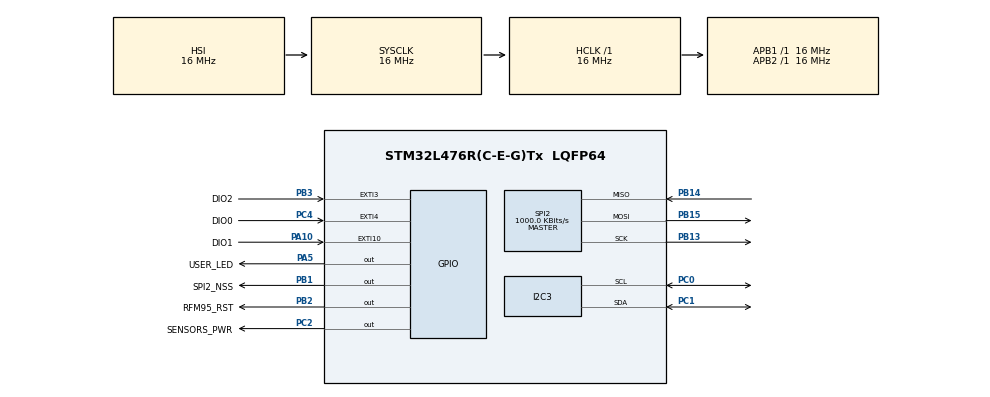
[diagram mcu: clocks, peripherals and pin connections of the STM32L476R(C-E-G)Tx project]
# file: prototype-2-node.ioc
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ADC1.Channel-1\#ChannelRegularConversion=ADC_CHANNEL_TEMPSENSOR
ADC1.ClockPrescaler=ADC_CLOCK_ASYNC_DIV4
ADC1.EnableRegularConversion=ENABLE
ADC1.NbrOfConversionFlag=1
ADC1.OffsetNumber-1\#ChannelRegularConversion=ADC_OFFSET_NONE
ADC1.OversamplingMode=ENABLE
ADC1.Rank-1\#ChannelRegularConversion=1
ADC1.Ratio=ADC_OVERSAMPLING_RATIO_4
ADC1.RightBitShift=ADC_RIGHTBITSHIFT_2
ADC1.SamplingTime-1\#ChannelRegularConversion=ADC_SAMPLETIME_12CYCLES_5
ADC1.master=1
I2C3.Timing=0x00303D5B
Mcu.Family=STM32L4
Mcu.Name=STM32L476R(C-E-G)Tx
Mcu.Package=LQFP64
NVIC.EXTI15_10_IRQn=true\:0\:0\:false\:false\:true\:true\:true
NVIC.EXTI3_IRQn=true\:0\:0\:false\:false\:true\:true\:true
NVIC.EXTI4_IRQn=true\:0\:0\:false\:false\:true\:true\:true
NVIC.PriorityGroup=NVIC_PRIORITYGROUP_4
PA10.GPIO_Label=DIO1
PA10.Signal=GPXTI10
PA13\ (JTMS-SWDIO).GPIO_Label=TMS
PA13\ (JTMS-SWDIO).Mode=Serial_Wire
PA13\ (JTMS-SWDIO).Signal=SYS_JTMS-SWDIO
PA14\ (JTCK-SWCLK).GPIO_Label=TCK
PA14\ (JTCK-SWCLK).Mode=Serial_Wire
PA14\ (JTCK-SWCLK).Signal=SYS_JTCK-SWCLK
PA5.GPIO_Label=USER_LED
PA5.Signal=GPIO_Output
PB1.GPIO_Label=SPI2_NSS
PB1.PinState=GPIO_PIN_SET
PB1.Signal=GPIO_Output
PB13.Mode=Full_Duplex_Master
PB13.Signal=SPI2_SCK
PB14.Mode=Full_Duplex_Master
PB14.Signal=SPI2_MISO
PB15.Mode=Full_Duplex_Master
PB15.Signal=SPI2_MOSI
PB2.GPIO_Label=RFM95_RST
PB2.GPIO_ModeDefaultOutputPP=GPIO_MODE_OUTPUT_OD
PB2.PinState=GPIO_PIN_SET
PB2.Signal=GPIO_Output
PB3\ (JTDO-TRACESWO).GPIO_Label=DIO2
PB3\ (JTDO-TRACESWO).Signal=GPXTI3
PC0.Mode=I2C
PC0.Signal=I2C3_SCL
PC1.Mode=I2C
PC1.Signal=I2C3_SDA
PC14-OSC32_IN\ (PC14).Mode=LSE-External-Oscillator
PC14-OSC32_IN\ (PC14).Signal=RCC_OSC32_IN
PC15-OSC32_OUT\ (PC15).Mode=LSE-External-Oscillator
PC15-OSC32_OUT\ (PC15).Signal=RCC_OSC32_OUT
PC2.GPIO_Label=SENSORS_PWR
PC2.PinState=GPIO_PIN_RESET
PC2.Signal=GPIO_Output
PC4.GPIO_Label=DIO0
PC4.Signal=GPXTI4
PH0-OSC_IN\ (PH0).Signal=RCC_OSC_IN
PH1-OSC_OUT\ (PH1).Signal=RCC_OSC_OUT
ProjectManager.HeapSize=0x200
ProjectManager.StackSize=0x400
ProjectManager.TargetToolchain=STM32CubeIDE
RCC.ADCFreq_Value=64000000
RCC.AHBFreq_Value=16000000
RCC.APB1Freq_Value=16000000
RCC.APB1TimFreq_Value=16000000
RCC.APB2Freq_Value=16000000
RCC.APB2TimFreq_Value=16000000
RCC.CortexFreq_Value=16000000
RCC.HCLKFreq_Value=16000000
RCC.HSE_VALUE=8000000
RCC.HSI_VALUE=16000000
RCC.MSI_VALUE=4000000
RCC.PLLN=10
RCC.PLLSourceVirtual=RCC_PLLSOURCE_HSI
RCC.PREFETCH_ENABLE=1
RCC.RCC_MCO1Source=RCC_MCO1SOURCE_HSE
RCC.SYSCLKFreq_VALUE=16000000
RCC.SYSCLKSource=RCC_SYSCLKSOURCE_HSI
RCC.USBFreq_Value=64000000
RCC.VCOOutputFreq_Value=160000000
SPI2.BaudRatePrescaler=SPI_BAUDRATEPRESCALER_16
SPI2.CalculateBaudRate=1000.0 KBits/s
SPI2.DataSize=SPI_DATASIZE_8BIT
SPI2.Direction=SPI_DIRECTION_2LINES
SPI2.Mode=SPI_MODE_MASTER
SPI2.VirtualType=VM_MASTER
TIM3.Prescaler=16
VP_ADC1_TempSens_Input.Mode=IN-TempSens
VP_RTC_VS_RTC_Activate.Mode=RTC_Enabled
VP_TIM3_VS_ClockSourceINT.Mode=Internal
board=NUCLEO-L476RG

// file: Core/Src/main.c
/* USER CODE BEGIN Header */
/**
 ******************************************************************************
 * @file           : main.c
 * @brief          : Main program body
 ******************************************************************************
 * @attention
 *-
 * <h2><center>&copy; Copyright (c) 2021 STMicroelectronics.
 * All rights reserved.</center></h2>
 *
 * This software component is licensed by ST under BSD 3-Clause license,
 * the "License"; You may not use this file except in compliance with the
 * License. You may obtain a copy of the License at:
 *                        opensource.org/licenses/BSD-3-Clause
 *
 ******************************************************************************
 */
/* USER CODE END Header */
#include "main.h"

/* USER CODE BEGIN Includes */
//#include "arduino_lmic.h"
//#include "hal.h"
/* USER CODE END Includes */

/* USER CODE BEGIN PD */

/*  Lora message structure, 1 byte long
 *  Byte 0:
 *      bit 7:      Timeout
 *      bit 6-0:    Fencevoltage / 0.1kV  (e.g. 11.4kV = 114 in message, max 12.7kV)
 */
#define LORA_MESSAGE_NUM_BYTES      8

#define LORA_MESSAGE_BATTERYLOW_BYTE   (0)
#define LORA_MESSAGE_BATTERYLOW_MASK   (1<<7)
#define LORA_MESSAGE_VOLTAGE_BYTE   (0)
#define LORA_MESSAGE_VOLTAGE_MASK   (0x7F)

#define TEMPCAL1ADDR				(0x1FFF75A8)
#define TEMPCAL2ADDR				(0x1FFF75CA)

#define TEMP_SENSOR_I2C_ADDRESS 	102
#define PH_SENSOR_I2C_ADDRESS 		103
#define DO_SENSOR_I2C_ADDRESS 		104

#define ENABLE_ADR					1

//#define PRINTBUF_SIZE   (40)

/* USER CODE END PD */

ADC_HandleTypeDef hadc1;

I2C_HandleTypeDef hi2c3;

RTC_HandleTypeDef hrtc;

SPI_HandleTypeDef hspi2;

TIM_HandleTypeDef htim3;

/* USER CODE BEGIN PV */
static volatile uint32_t tick = 0;

FLASH_EraseInitTypeDef FlashEraseInit = {0};
I2Cx_Handle_t I2C1Handle;
uint32_t flashError = 0;
uint8_t from_standby = 0;

float tempcal1;
float tempcal2;

/* USER CODE END PV */

void SystemClock_Config(void);
static void MX_GPIO_Init(void);
static void MX_TIM3_Init(void);
static void MX_RTC_Init(void);
static void MX_ADC1_Init(void);
static void MX_SPI2_Init(void);
static void MX_I2C3_Init(void);
/* USER CODE BEGIN PFP */
void RTC_WakeupConfig();
void MYPRINT(char *msg);
uint8_t getSysTickActiveCounterFlag();
//static void reportfunc(osjob_t* j);

void MCUTempInit();
uint16_t readMCUTemp();
uint8_t remove_decimal(char* pStr, char c);
void readSensors(AtlasSensorData* pSample);
//u2_t ReadTempSensor();
//u2_t ReadTempSensorI2C();
//u2_t ReadDOSensor();
//u2_t ReadDOSensorI2C();
//u2_t ReadpHSensor();
//u2_t ReadpHSensorI2C();

void WriteFlash(uint8_t data);
void InitFlashErase();
void SaveSession();
void RestoreSession();
/* USER CODE END PFP */

/* USER CODE BEGIN 0 */
// This EUI must be in little-endian format, so least-significant-byte
// first. When copying an EUI from ttnctl output, this means to reverse
// the bytes. For TTN issued EUIs the last bytes should be 0xD5, 0xB3,
// 0x70.
static const u1_t APPEUI[8] = { 0x97, 0x18, 0x04, 0xD0, 0x7E, 0xD5, 0xB3, 0x70 };
void os_getArtEui(u1_t *buf) {
	memcpy(buf, APPEUI, 8);
}

// This should also be in little endian format, see above.
static const u1_t DEVEUI[8] = { 0x5F, 0x9B, 0x1C, 0x3F, 0x8B, 0x4A, 0x4A, 0x00 };
void os_getDevEui(u1_t *buf) {
	memcpy(buf, DEVEUI, 8);
}

// This key should be in big endian format (or, since it is not really a
// number but a block of memory, endianness does not really apply). In
// practice, a key taken from ttnctl can be copied as-is.
static const u1_t APPKEY[16] = { 0x07, 0x28, 0x32, 0x62, 0xF7, 0x0A, 0x6B, 0x8F,
		0x57, 0x24, 0x47, 0x77, 0xE3, 0xBB, 0xF0, 0xD6 };
void os_getDevKey(u1_t *buf) {
	memcpy(buf, APPKEY, 16);
}

//static char printbuf[PRINTBUF_SIZE];

static uint8_t loradata[LORA_MESSAGE_NUM_BYTES] = { 0 };
static uint8_t lora_port = 2;
static uint8_t lora_confirmed = 0;
static osjob_t sendjob;
//static osjob_t reportjob;

__attribute__((__section__(".user_data"))) uint8_t userConfig[1024];
const uint32_t LMIC_BYTE_SIZE = sizeof(LMIC);
//const uint8_t TICK_BYTE_SIZE = 4;

static uint16_t retry_interval = 60; // check for no pending jobs next secs to go to sleep
static volatile uint8_t txcomplete = 0; // set, when tx done and ready for next sleep
const uint32_t SLEEP_SECONDS = 60;

uint16_t *pTempCal1 = (uint16_t *) TEMPCAL1ADDR;
uint16_t *pTempCal2 = (uint16_t *) TEMPCAL2ADDR;

//No voy a cambiar esto porque dice que esta unused.
// Pin mapping, unused in this implementation
//Lo meti en el main.h
const lmic_pinmap lmic_pins = { .nss = 6, .rxtx = LMIC_UNUSED_PIN, .rst = 5,
		.dio = { 2, 3, LMIC_UNUSED_PIN }, };

void do_send(osjob_t *j) {
	lmic_tx_error_t error = 0;

	// Check if there is not a current TX/RX job running
	if (LMIC.opmode & OP_TXRXPEND) {
//		("OP_TXRXPEND, not sending\r\n");
	} else {
//		MYPRINT("Packet queued\r\n");
		// Prepare upstream data transmission at the next possible time.
		error = LMIC_setTxData2(lora_port, loradata, LORA_MESSAGE_NUM_BYTES,
				lora_confirmed);
	}

	switch (error) {
	case LMIC_ERROR_TX_BUSY:
//		MYPRINT("LMIC_ERROR_TX_BUSY\r\n");
		break;
	case LMIC_ERROR_TX_TOO_LARGE:
//		MYPRINT("LMIC_ERROR_TX_TOO_LARGE\r\n");
		break;
	case LMIC_ERROR_TX_NOT_FEASIBLE:
//		MYPRINT("LMIC_ERROR_TX_NOT_FEASIBLE\r\n");
		break;
	case LMIC_ERROR_TX_FAILED:
//		MYPRINT("LMIC_ERROR_TX_FAILED\r\n");
		break;
	default:
		break;
	}
}

void onEvent(ev_t ev) {
	switch (ev) {
	case EV_SCAN_TIMEOUT:
//		MYPRINT("EV_SCAN_TIMEOUT\r\n");
		break;
	case EV_BEACON_FOUND:
//		MYPRINT("EV_BEACON_FOUND\r\n");
		break;
	case EV_BEACON_MISSED:
//		MYPRINT("EV_BEACON_MISSED\r\n");
		break;
	case EV_BEACON_TRACKED:
//		MYPRINT("EV_BEACON_TRACKED\r\n");
		break;
	case EV_JOINING:
		// normally starts at DR_SF7 and increases if not heard
		// /* set SF10 to get reliable join, potentially decreased over time by ADR */
		// LMIC_setDrTxpow(DR_SF10,14);
//		MYPRINT("EV_JOINING\r\n");
		break;
	case EV_JOINED:
//		MYPRINT("EV_JOINED\r\n");
		/* enable ADR */
		LMIC_setAdrMode(ENABLE_ADR);
		// Disable link check validation (automatically enabled
		// during join, but not supported by TTN at this time).
		LMIC_setLinkCheckMode(0);
		break;
	case EV_JOIN_FAILED:
//		MYPRINT("EV_JOIN_FAILED\r\n");
		break;
	case EV_REJOIN_FAILED:
//		MYPRINT("EV_REJOIN_FAILED\r\n");
		break;
	case EV_TXCOMPLETE:
//		MYPRINT("EV_TXCOMPLETE\r\n");
		if (LMIC.txrxFlags & TXRX_ACK) {
//			MYPRINT("Received ack\r\n");
		}

		if (LMIC.dataLen) {
//			MYPRINT("Received data\r\n");

//              fence_parse_rx(&(LMIC.frame[LMIC.dataBeg]), LMIC.dataLen);
		}
		txcomplete = 1;
		break;
	case EV_JOIN_TXCOMPLETE:
		// join accept not received
//		MYPRINT("EV_JOIN_TXCOMPLETE\r\n");
		break;
	case EV_LOST_TSYNC:
//		MYPRINT("EV_LOST_TSYNC\r\n");
		break;
	case EV_RESET:
//		MYPRINT("EV_RESET\r\n");
		break;
	case EV_RXCOMPLETE:
		// data received in ping slot
//		MYPRINT("EV_RXCOMPLETE\r\n");
		break;
	case EV_LINK_DEAD:
//		MYPRINT("EV_LINK_DEAD\r\n");
		break;
	case EV_LINK_ALIVE:
//		MYPRINT("EV_LINK_ALIVE\r\n");
		break;
	case EV_TXSTART:
//		MYPRINT("EV_TXSTART\r\n");
		break;
	default:
//		MYPRINT("Unknown event\r\n");
		break;
	}
}
/* USER CODE END 0 */

int main(void)
{

  /* MCU Configuration--------------------------------------------------------*/

  /* Reset of all peripherals, Initializes the Flash interface and the Systick. */
  HAL_Init();

  /* Configure the system clock */
  SystemClock_Config();

  /* USER CODE BEGIN SysInit */
  //Tocaria comentar el MX_RTC_Init() de abajo cada vez que se genere nuevo codigo con cubemx
//  MX_RTC_Init();
//  RTC_WakeupConfig();
  /* USER CODE END SysInit */

  /* Initialize all configured peripherals */
  MX_GPIO_Init();
  MX_TIM3_Init();
  MX_RTC_Init();
  MX_ADC1_Init();
  MX_SPI2_Init();
  MX_I2C3_Init();
  /* USER CODE BEGIN 2 */
  RTC_WakeupConfig();
  HAL_ADCEx_Calibration_Start(&hadc1, ADC_SINGLE_ENDED);
  __HAL_RCC_PWR_CLK_ENABLE();
  HAL_TIM_Base_Start(&htim3);
  InitFlashErase();
  MCUTempInit();

  if(__HAL_PWR_GET_FLAG(PWR_FLAG_SB) != RESET)
  {
	  from_standby = 1;

	  __HAL_PWR_CLEAR_FLAG(PWR_FLAG_SB);
	  __HAL_PWR_CLEAR_FLAG(PWR_FLAG_WU);
	  __HAL_RTC_WAKEUPTIMER_CLEAR_FLAG(&hrtc, RTC_FLAG_WUTF);

	  //MYPRINT("Woke up from standby mode...\r\n");
  }
  else
  {
	  from_standby = 0;
	  //MYPRINT("System running after reset...\r\n");
  }

  //	MYPRINT("Start LMIC\r\n");

  //Probando I2C2
//  char cmd[] = "R";
//  uint8_t resp[7] = {0};
////  uint8_t ready = 254;}
//  uint8_t fallo = 0;
//
//  if (HAL_I2C_Master_Transmit(&hi2c2, PH_SENSOR_I2C_ADDRESS << 1, (uint8_t*) cmd, sizeof(cmd), 1000) != HAL_OK)
//  {
//		fallo = 1;
//  }
//  else
//  {
//	  HAL_Delay(800);
//	  HAL_I2C_Master_Receive(&hi2c2, PH_SENSOR_I2C_ADDRESS << 1, resp, sizeof(resp), 1000);
//  }

  //Probando USART3
//  u2_t DO = ReadDOSensor();
  HAL_GPIO_WritePin(USER_LED_GPIO_Port, USER_LED_Pin, GPIO_PIN_SET);
  AtlasSensorData sample = {0};
  readSensors(&sample);

//  u2_t pH = ReadpHSensorI2C();
//  u2_t DO = ReadDOSensorI2C();
//  u2_t temp = ReadTempSensorI2C();
//  u2_t temp = ReadTempSensor(); //cOMO ESTE no interfiere quizas lo puedo prender al mismo tiempo que otro o algo para optimizar el consumo.
//  u2_t DO = 0;
//  u2_t temp = 0;
//  u2_t pH = 0;

  // LMIC init
//  HAL_GPIO_WritePin(RFM95_CONTROL_GPIO_Port, RFM95_CONTROL_Pin, GPIO_PIN_RESET);
  os_init();

  // Reset the MAC state. Session and pending data transfers will be discarded.
  LMIC_reset();

  txcomplete = 0;
//  txcomplete = 1;

  if(from_standby)
  {
	  //Restore session and send one measurement
	  RestoreSession();

	  //MYPRINT("Session restored...\r\n");

//	  os_setCallback(&reportjob, &reportfunc);

//	  reportfunc(&reportjob);

//	  MYPRINT("Report queued...\r\n");
  }
  else
  {
	  // settings
	  LMIC_setClockError(MAX_CLOCK_ERROR * 5 / 100);

	  //Probando algo de un foro

	  //Aqui comienza la Prueba
	  LMIC_selectSubBand(1);
		//Disable FSB1, channels 0-7
	  for(int i = 0; i < 7; i++)
	  {
//		  if (i != 10)
		  LMIC_disableChannel(i);
	  }

	  //Disable FSB3-8, channels 16-72+
	  for (int i = 16; i < 73; i++)
	  {
//		  if (i != 10)
		  LMIC_disableChannel(i);
	  }

	  LMIC_setAdrMode(ENABLE_ADR);
	  LMIC.dn2Dr = DR_SF10;

	  // Set data rate and transmit power for uplink (note: txpow seems to be ignored by the library)
	  LMIC_setDrTxpow(DR_SF10, 14);

	  //Aqui termina la prueba
  }

//  if(!from_standby)
//  {
//	  do_send(&sendjob);
//  }

//  uint16_t mcuTemp = readMCUTemp();

//  if (probeTemp > 25000)
//  {
//	MYPRINT("Dato raro.\r\n");
//  }c

  loradata[0] = (uint8_t) (sample.mcu_temperature >> 8);
  loradata[1] = (uint8_t) sample.mcu_temperature;
  loradata[2] = (uint8_t) (sample.temperature >> 8);
  loradata[3] = (uint8_t) sample.temperature;
  loradata[4] = (uint8_t) (sample.pH >> 8);
  loradata[5] = (uint8_t) sample.pH;
  loradata[6] = (uint8_t) (sample.dissolvedOxygen >> 8);
  loradata[7] = (uint8_t) sample.dissolvedOxygen;

  do_send(&sendjob);

  /* USER CODE END 2 */

  /* Infinite loop */
  while (1) {

    /* USER CODE BEGIN 3 */
	os_runloop_once();

	//Yo quiero quitar esto despues.
	/* when no jobs pending and not joining, go to standby */
	if (!os_queryTimeCriticalJobs(sec2osticks(retry_interval)) && !(LMIC.opmode & OP_JOINING) && !(LMIC.opmode & OP_TXRXPEND))
		{
			if (txcomplete)
			{
	//				MYPRINT("Save session\r\n");

				// save session and ticks+sleeptime
	//	            eeprom_save(getTick() + 1000 * fence_vars.check_interval);

	//				MYPRINT("Standby\r\n")*-/8-;
				//TODO: Poner que se vaya a Standby
	//			MYPRINT("Entering standby mode...\r\n");
//				HAL_GPIO_WritePin(RFM95_CONTROL_GPIO_Port, RFM95_CONTROL_Pin, GPIO_PIN_SET);
//				SaveSession();
//				HAL_PWR_EnterSTANDBYMode();
				HAL_GPIO_TogglePin(USER_LED_GPIO_Port, USER_LED_Pin);
				HAL_Delay(1000);
				/* Enable wake-up timer and enter in standby mode */
	//			EnterStandbyMode();
			}
			else
			{
				// TODO: timeout with txcomplete check
			}
		}
	}

//	  HAL_GPIO_WritePin(USER_LED_GPIO_Port, USER_LED_Pin, GPIO_PIN_RESET);
//	  HAL_Delay(2000);
//	  HAL_GPIO_WritePin(USER_LED_GPIO_Port, USER_LED_Pin, GPIO_PIN_SET);
//	  AtlasSensorData sample = {0};
//	  readSensors(&sample);
//  }

  /* USER CODE END 3 */
}

void SystemClock_Config(void)
{
  RCC_OscInitTypeDef RCC_OscInitStruct = {0};
  RCC_ClkInitTypeDef RCC_ClkInitStruct = {0};

  /** Configure the main internal regulator output voltage
  */
  if (HAL_PWREx_ControlVoltageScaling(PWR_REGULATOR_VOLTAGE_SCALE1) != HAL_OK)
  {
    Error_Handler();
  }
  /** Initializes the RCC Oscillators according to the specified parameters
  * in the RCC_OscInitTypeDef structure.
  */
  RCC_OscInitStruct.OscillatorType = RCC_OSCILLATORTYPE_HSI|RCC_OSCILLATORTYPE_LSI;
  RCC_OscInitStruct.HSIState = RCC_HSI_ON;
  RCC_OscInitStruct.HSICalibrationValue = RCC_HSICALIBRATION_DEFAULT;
  RCC_OscInitStruct.LSIState = RCC_LSI_ON;
  RCC_OscInitStruct.PLL.PLLState = RCC_PLL_NONE;
  if (HAL_RCC_OscConfig(&RCC_OscInitStruct) != HAL_OK)
  {
    Error_Handler();
  }
  /** Initializes the CPU, AHB and APB buses clocks
  */
  RCC_ClkInitStruct.ClockType = RCC_CLOCKTYPE_HCLK|RCC_CLOCKTYPE_SYSCLK
                              |RCC_CLOCKTYPE_PCLK1|RCC_CLOCKTYPE_PCLK2;
  RCC_ClkInitStruct.SYSCLKSource = RCC_SYSCLKSOURCE_HSI;
  RCC_ClkInitStruct.AHBCLKDivider = RCC_SYSCLK_DIV1;
  RCC_ClkInitStruct.APB1CLKDivider = RCC_HCLK_DIV1;
  RCC_ClkInitStruct.APB2CLKDivider = RCC_HCLK_DIV1;

  if (HAL_RCC_ClockConfig(&RCC_ClkInitStruct, FLASH_LATENCY_0) != HAL_OK)
  {
    Error_Handler();
  }
}

static void MX_ADC1_Init(void)
{

  ADC_MultiModeTypeDef multimode = {0};
  ADC_ChannelConfTypeDef sConfig = {0};

  /** Common config
  */
  hadc1.Instance = ADC1;
  hadc1.Init.ClockPrescaler = ADC_CLOCK_ASYNC_DIV4;
  hadc1.Init.Resolution = ADC_RESOLUTION_12B;
  hadc1.Init.DataAlign = ADC_DATAALIGN_RIGHT;
  hadc1.Init.ScanConvMode = ADC_SCAN_DISABLE;
  hadc1.Init.EOCSelection = ADC_EOC_SINGLE_CONV;
  hadc1.Init.LowPowerAutoWait = DISABLE;
  hadc1.Init.ContinuousConvMode = DISABLE;
  hadc1.Init.NbrOfConversion = 1;
  hadc1.Init.DiscontinuousConvMode = DISABLE;
  hadc1.Init.ExternalTrigConv = ADC_SOFTWARE_START;
  hadc1.Init.ExternalTrigConvEdge = ADC_EXTERNALTRIGCONVEDGE_NONE;
  hadc1.Init.DMAContinuousRequests = DISABLE;
  hadc1.Init.Overrun = ADC_OVR_DATA_PRESERVED;
  hadc1.Init.OversamplingMode = ENABLE;
  hadc1.Init.Oversampling.Ratio = ADC_OVERSAMPLING_RATIO_4;
  hadc1.Init.Oversampling.RightBitShift = ADC_RIGHTBITSHIFT_2;
  hadc1.Init.Oversampling.TriggeredMode = ADC_TRIGGEREDMODE_SINGLE_TRIGGER;
  hadc1.Init.Oversampling.OversamplingStopReset = ADC_REGOVERSAMPLING_CONTINUED_MODE;
  if (HAL_ADC_Init(&hadc1) != HAL_OK)
  {
    Error_Handler();
  }
  /** Configure the ADC multi-mode
  */
  multimode.Mode = ADC_MODE_INDEPENDENT;
  if (HAL_ADCEx_MultiModeConfigChannel(&hadc1, &multimode) != HAL_OK)
  {
    Error_Handler();
  }
  /** Configure Regular Channel
  */
  sConfig.Channel = ADC_CHANNEL_TEMPSENSOR;
  sConfig.Rank = ADC_REGULAR_RANK_1;
  sConfig.SamplingTime = ADC_SAMPLETIME_12CYCLES_5;
  sConfig.SingleDiff = ADC_SINGLE_ENDED;
  sConfig.OffsetNumber = ADC_OFFSET_NONE;
  sConfig.Offset = 0;
  if (HAL_ADC_ConfigChannel(&hadc1, &sConfig) != HAL_OK)
  {
    Error_Handler();
  }

}

static void MX_I2C3_Init(void)
{

  hi2c3.Instance = I2C3;
  hi2c3.Init.Timing = 0x00303D5B;
  hi2c3.Init.OwnAddress1 = 0;
  hi2c3.Init.AddressingMode = I2C_ADDRESSINGMODE_7BIT;
  hi2c3.Init.DualAddressMode = I2C_DUALADDRESS_DISABLE;
  hi2c3.Init.OwnAddress2 = 0;
  hi2c3.Init.OwnAddress2Masks = I2C_OA2_NOMASK;
  hi2c3.Init.GeneralCallMode = I2C_GENERALCALL_DISABLE;
  hi2c3.Init.NoStretchMode = I2C_NOSTRETCH_DISABLE;
  if (HAL_I2C_Init(&hi2c3) != HAL_OK)
  {
    Error_Handler();
  }
  /** Configure Analogue filter
  */
  if (HAL_I2CEx_ConfigAnalogFilter(&hi2c3, I2C_ANALOGFILTER_ENABLE) != HAL_OK)
  {
    Error_Handler();
  }
  /** Configure Digital filter
  */
  if (HAL_I2CEx_ConfigDigitalFilter(&hi2c3, 0) != HAL_OK)
  {
    Error_Handler();
  }

}

static void MX_RTC_Init(void)
{

  /** Initialize RTC Only
  */
  hrtc.Instance = RTC;
  hrtc.Init.HourFormat = RTC_HOURFORMAT_24;
  hrtc.Init.AsynchPrediv = 127;
  hrtc.Init.SynchPrediv = 255;
  hrtc.Init.OutPut = RTC_OUTPUT_DISABLE;
  hrtc.Init.OutPutRemap = RTC_OUTPUT_REMAP_NONE;
  hrtc.Init.OutPutPolarity = RTC_OUTPUT_POLARITY_HIGH;
  hrtc.Init.OutPutType = RTC_OUTPUT_TYPE_OPENDRAIN;
  if (HAL_RTC_Init(&hrtc) != HAL_OK)
  {
    Error_Handler();
  }

}

static void MX_SPI2_Init(void)
{

  /* SPI2 parameter configuration*/
  hspi2.Instance = SPI2;
  hspi2.Init.Mode = SPI_MODE_MASTER;
  hspi2.Init.Direction = SPI_DIRECTION_2LINES;
  hspi2.Init.DataSize = SPI_DATASIZE_8BIT;
  hspi2.Init.CLKPolarity = SPI_POLARITY_LOW;
  hspi2.Init.CLKPhase = SPI_PHASE_1EDGE;
  hspi2.Init.NSS = SPI_NSS_SOFT;
  hspi2.Init.BaudRatePrescaler = SPI_BAUDRATEPRESCALER_16;
  hspi2.Init.FirstBit = SPI_FIRSTBIT_MSB;
  hspi2.Init.TIMode = SPI_TIMODE_DISABLE;
  hspi2.Init.CRCCalculation = SPI_CRCCALCULATION_DISABLE;
  hspi2.Init.CRCPolynomial = 7;
  hspi2.Init.CRCLength = SPI_CRC_LENGTH_DATASIZE;
  hspi2.Init.NSSPMode = SPI_NSS_PULSE_ENABLE;
  if (HAL_SPI_Init(&hspi2) != HAL_OK)
  {
    Error_Handler();
  }

}

static void MX_TIM3_Init(void)
{

  TIM_ClockConfigTypeDef sClockSourceConfig = {0};
  TIM_MasterConfigTypeDef sMasterConfig = {0};

  htim3.Instance = TIM3;
  htim3.Init.Prescaler = 16;
  htim3.Init.CounterMode = TIM_COUNTERMODE_UP;
  htim3.Init.Period = 65535;
  htim3.Init.ClockDivision = TIM_CLOCKDIVISION_DIV1;
  htim3.Init.AutoReloadPreload = TIM_AUTORELOAD_PRELOAD_DISABLE;
  if (HAL_TIM_Base_Init(&htim3) != HAL_OK)
  {
    Error_Handler();
  }
  sClockSourceConfig.ClockSource = TIM_CLOCKSOURCE_INTERNAL;
  if (HAL_TIM_ConfigClockSource(&htim3, &sClockSourceConfig) != HAL_OK)
  {
    Error_Handler();
  }
  sMasterConfig.MasterOutputTrigger = TIM_TRGO_RESET;
  sMasterConfig.MasterSlaveMode = TIM_MASTERSLAVEMODE_DISABLE;
  if (HAL_TIMEx_MasterConfigSynchronization(&htim3, &sMasterConfig) != HAL_OK)
  {
    Error_Handler();
  }

}

static void MX_GPIO_Init(void)
{
  GPIO_InitTypeDef GPIO_InitStruct = {0};

  /* GPIO Ports Clock Enable */
  __HAL_RCC_GPIOC_CLK_ENABLE();
  __HAL_RCC_GPIOH_CLK_ENABLE();
  __HAL_RCC_GPIOA_CLK_ENABLE();
  __HAL_RCC_GPIOB_CLK_ENABLE();

  /*Configure GPIO pin Output Level */
  HAL_GPIO_WritePin(SENSORS_PWR_GPIO_Port, SENSORS_PWR_Pin, GPIO_PIN_RESET);

  /*Configure GPIO pin Output Level */
  HAL_GPIO_WritePin(USER_LED_GPIO_Port, USER_LED_Pin, GPIO_PIN_RESET);

  /*Configure GPIO pin Output Level */
  HAL_GPIO_WritePin(GPIOB, SPI2_NSS_Pin|RFM95_RST_Pin, GPIO_PIN_SET);

  /*Configure GPIO pin : SENSORS_PWR_Pin */
  GPIO_InitStruct.Pin = SENSORS_PWR_Pin;
  GPIO_InitStruct.Mode = GPIO_MODE_OUTPUT_PP;
  GPIO_InitStruct.Pull = GPIO_NOPULL;
  GPIO_InitStruct.Speed = GPIO_SPEED_FREQ_LOW;
  HAL_GPIO_Init(SENSORS_PWR_GPIO_Port, &GPIO_InitStruct);

  /*Configure GPIO pin : USER_LED_Pin */
  GPIO_InitStruct.Pin = USER_LED_Pin;
  GPIO_InitStruct.Mode = GPIO_MODE_OUTPUT_PP;
  GPIO_InitStruct.Pull = GPIO_NOPULL;
  GPIO_InitStruct.Speed = GPIO_SPEED_FREQ_LOW;
  HAL_GPIO_Init(USER_LED_GPIO_Port, &GPIO_InitStruct);

  /*Configure GPIO pin : DIO0_Pin */
  GPIO_InitStruct.Pin = DIO0_Pin;
  GPIO_InitStruct.Mode = GPIO_MODE_IT_RISING;
  GPIO_InitStruct.Pull = GPIO_NOPULL;
  HAL_GPIO_Init(DIO0_GPIO_Port, &GPIO_InitStruct);

  /*Configure GPIO pin : SPI2_NSS_Pin */
  GPIO_InitStruct.Pin = SPI2_NSS_Pin;
  GPIO_InitStruct.Mode = GPIO_MODE_OUTPUT_PP;
  GPIO_InitStruct.Pull = GPIO_NOPULL;
  GPIO_InitStruct.Speed = GPIO_SPEED_FREQ_LOW;
  HAL_GPIO_Init(SPI2_NSS_GPIO_Port, &GPIO_InitStruct);

  /*Configure GPIO pin : RFM95_RST_Pin */
  GPIO_InitStruct.Pin = RFM95_RST_Pin;
  GPIO_InitStruct.Mode = GPIO_MODE_OUTPUT_OD;
  GPIO_InitStruct.Pull = GPIO_NOPULL;
  GPIO_InitStruct.Speed = GPIO_SPEED_FREQ_LOW;
  HAL_GPIO_Init(RFM95_RST_GPIO_Port, &GPIO_InitStruct);

  /*Configure GPIO pin : DIO1_Pin */
  GPIO_InitStruct.Pin = DIO1_Pin;
  GPIO_InitStruct.Mode = GPIO_MODE_IT_RISING;
  GPIO_InitStruct.Pull = GPIO_NOPULL;
  HAL_GPIO_Init(DIO1_GPIO_Port, &GPIO_InitStruct);

  /*Configure GPIO pin : DIO2_Pin */
  GPIO_InitStruct.Pin = DIO2_Pin;
  GPIO_InitStruct.Mode = GPIO_MODE_IT_RISING;
  GPIO_InitStruct.Pull = GPIO_NOPULL;
  HAL_GPIO_Init(DIO2_GPIO_Port, &GPIO_InitStruct);

  /* EXTI interrupt init*/
  HAL_NVIC_SetPriority(EXTI3_IRQn, 0, 0);
  HAL_NVIC_EnableIRQ(EXTI3_IRQn);

  HAL_NVIC_SetPriority(EXTI4_IRQn, 0, 0);
  HAL_NVIC_EnableIRQ(EXTI4_IRQn);

  HAL_NVIC_SetPriority(EXTI15_10_IRQn, 0, 0);
  HAL_NVIC_EnableIRQ(EXTI15_10_IRQn);

}

/* USER CODE BEGIN 4 */

void MYPRINT(char *msg) {
//	HAL_UART_Transmit(&huart3, (uint8_t*) msg, strlen(msg) + 1, HAL_MAX_DELAY); //TODO: Revisar lo del timeout
}

HAL_StatusTypeDef HAL_InitTick(uint32_t TickPriority) {
	/*Configure the SysTick to have interrupt in 1ms time basis*/
	HAL_SYSTICK_Config(SystemCoreClock / 1000);

	/*Configure the SysTick IRQ priority */
	HAL_NVIC_SetPriority(SysTick_IRQn, TickPriority, 0);

	/* Return function status */
	return HAL_OK;
}

uint32_t getCurrentMicro(void)
{
  /* Ensure COUNTFLAG is reset by reading SysTick control and status register */
//  LL_SYSTICK_IsActiveCounterFlag();
  //por ahora yo, mirar si la HAL tiene algo para esto
  getSysTickActiveCounterFlag();

  //Porque se hace esto 2 veces?
  uint32_t m = HAL_GetTick();
  uint32_t u = SysTick->LOAD - SysTick->VAL;

  if(getSysTickActiveCounterFlag())
  {
    m = HAL_GetTick();
    u = SysTick->LOAD - SysTick->VAL;
  }
  return ( m * 1000 + (u * 1000) / SysTick->LOAD);
}

uint8_t getSysTickActiveCounterFlag()
{
	return ((SysTick->CTRL & SysTick_CTRL_COUNTFLAG_Msk) == (SysTick_CTRL_COUNTFLAG_Msk));
}

//static void reportfunc(osjob_t* j)
//{
//	u2_t val = ReadTempSensor();
//	LMIC.frame[0] = val >> 8;
//	LMIC.frame[1] = val;
//
//	LMIC_setTxData2(1, LMIC.frame, 2, 0);
//}

uint8_t remove_decimal(char* pStr, char c)
{
	char *pr = pStr, *pw = pStr;
	uint8_t loc = 0; uint8_t i = 0;

	while(*pr)
	{
		*pw = *pr++;

		if (*pw != c)
		{
			pw++;
		}
		else
		{
			loc = i;
		}
		i++;
	}

	*pw = '\0';

	return loc;
}

void MCUTempInit()
{
	tempcal1 = (float) (*pTempCal1)*(3/3.3f);
	tempcal2 = (float) (*pTempCal2)*(3/3.3f);
}

uint16_t readMCUTemp()
{
	//TODO: Poner esto arriba como constante

	HAL_ADC_Start(&hadc1);
	while(HAL_ADC_PollForConversion(&hadc1, HAL_MAX_DELAY) != HAL_OK);

	uint16_t adctemp = (uint16_t) HAL_ADC_GetValue(&hadc1);
	float temp = ((float)(adctemp - tempcal1)/(tempcal2 - tempcal1))*(80) + 30;

	return (uint16_t) (temp*1000);
}

void readSensors(AtlasSensorData* pSample)
{
	uint16_t mcuTemp = readMCUTemp();
	pSample->mcu_temperature = mcuTemp;

	char cmd[] = "R";
//	char cmd[] = "Cal,21";
	uint8_t temp_buffer[8] = {0};
	uint8_t pH_buffer[7] = {0};
	uint8_t do_buffer[7] = {0};

	//  uint8_t ready = 254;

	HAL_GPIO_WritePin(SENSORS_PWR_GPIO_Port, SENSORS_PWR_Pin, GPIO_PIN_SET);

	HAL_Delay(1500);

	uint8_t fallo_temp = HAL_I2C_Master_Transmit(&hi2c3, TEMP_SENSOR_I2C_ADDRESS << 1, (uint8_t*) cmd, sizeof(cmd), 1000) != HAL_OK;
	uint8_t fallo_do = HAL_I2C_Master_Transmit(&hi2c3, DO_SENSOR_I2C_ADDRESS << 1, (uint8_t*) cmd, sizeof(cmd), 1000) != HAL_OK;
	uint8_t fallo_pH = HAL_I2C_Master_Transmit(&hi2c3, PH_SENSOR_I2C_ADDRESS << 1, (uint8_t*) cmd, sizeof(cmd), 1000) != HAL_OK;

	HAL_Delay(1500);

	if(!fallo_temp)
	{
		HAL_I2C_Master_Receive(&hi2c3, TEMP_SENSOR_I2C_ADDRESS << 1, temp_buffer, sizeof(temp_buffer), 1000);
	}

	if(!fallo_do)
	{
		HAL_I2C_Master_Receive(&hi2c3, DO_SENSOR_I2C_ADDRESS << 1, do_buffer, sizeof(do_buffer), 1000);
	}

	if(!fallo_pH)
	{
		HAL_I2C_Master_Receive(&hi2c3, PH_SENSOR_I2C_ADDRESS << 1, pH_buffer, sizeof(pH_buffer), 1000);
	}

	//TODO: Probar el cast a pointer char
	uint8_t decloc_temp = remove_decimal( (char*) (temp_buffer+1), '.');
	uint8_t decloc_do = remove_decimal( (char*) (do_buffer+1), '.');
	uint8_t decloc_pH = remove_decimal( (char*) (pH_buffer+1), '.');

	//Esto es para ignorar el warning de que los decloc no se esta usando.
	UNUSED(decloc_temp);
	UNUSED(decloc_do);
	UNUSED(decloc_pH);

	pSample->temperature = atoi( (const char*) (temp_buffer+1));
	pSample->dissolvedOxygen = atoi( (const char*) (do_buffer+1));
	pSample->pH = atoi( (const char*) (pH_buffer+1));

	if(pSample->temperature > 25000)
	{
		pSample->temperature = 50000;
	}

	HAL_GPIO_WritePin(SENSORS_PWR_GPIO_Port, SENSORS_PWR_Pin, GPIO_PIN_RESET);
}

//u2_t ReadpHSensorI2C()
//{
//	//TODO: Revisar esto, a veces falla la lectura y se queda trabado.
//	//Por ahora le alargo los Delays, pero hacerlo mejor como detectando el error
//	//o con un timeout.
//
//	char cmd[] = "R";
//	uint8_t buffer[7] = {0};
//	//  uint8_t ready = 254;
//	uint8_t fallo = 0;
//
//	HAL_GPIO_WritePin(PH_CONTROL_GPIO_Port, PH_CONTROL_Pin, GPIO_PIN_SET);
//	HAL_Delay(1200);
//
//	if (HAL_I2C_Master_Transmit(&hi2c2, PH_SENSOR_I2C_ADDRESS << 1, (uint8_t*) cmd, sizeof(cmd), 1000) != HAL_OK)
//	{
//		fallo = 1;
//	}
//	else
//	{
//	  HAL_Delay(800);
//	  HAL_I2C_Master_Receive(&hi2c2, PH_SENSOR_I2C_ADDRESS << 1, buffer, sizeof(buffer), 1000);
//	}
//
//	HAL_GPIO_WritePin(PH_CONTROL_GPIO_Port, PH_CONTROL_Pin, GPIO_PIN_RESET);
//
//	//TODO: Probar el cast a pointer char
//	uint8_t dec_loc = remove_decimal( (char*) (buffer+1), '.');
//
//	//Esto es para ignorar el warning de que dec_loc no se esta usando.
//	UNUSED(dec_loc);
//
//	u2_t val = atoi( (const char*) (buffer+1));
//
//	return val;
//}

//u2_t ReadpHSensor()
//{
//	//TODO: Revisar esto, a veces falla la lectura y se queda trabado.
//	//Por ahora le alargo los Delays, pero hacerlo mejor como detectando el error
//	//o con un timeout.
//
//	char cmd[] = "R\r";
//	uint8_t initbuffer[11] = {0};
//	uint8_t buffer[10] = {0};
//
//	HAL_UART_DeInit(&huart3);
//	MX_USART3_UART_Init();
//
//	HAL_GPIO_DeInit(GPIOC, GPIO_PIN_4 | GPIO_PIN_5);
//
//	GPIO_InitTypeDef GPIO_InitStruct;
//
//	GPIO_InitStruct.Pin = GPIO_PIN_10 | GPIO_PIN_11;
//	GPIO_InitStruct.Mode = GPIO_MODE_ANALOG;
//	GPIO_InitStruct.Pull = GPIO_NOPULL;
//	GPIO_InitStruct.Speed = GPIO_SPEED_FREQ_LOW;
//	HAL_GPIO_Init(GPIOC, &GPIO_InitStruct);
//
//	GPIO_InitStruct.Pin = GPIO_PIN_10 | GPIO_PIN_11;
//	GPIO_InitStruct.Mode = GPIO_MODE_AF_PP;
//	GPIO_InitStruct.Pull = GPIO_NOPULL;
//	GPIO_InitStruct.Alternate = GPIO_AF7_USART3;
//	GPIO_InitStruct.Speed = GPIO_SPEED_FREQ_VERY_HIGH;
//	HAL_GPIO_Init(GPIOB, &GPIO_InitStruct);
//
//	HAL_GPIO_WritePin(PH_CONTROL_GPIO_Port, PH_CONTROL_Pin, GPIO_PIN_SET);
//
//	//Cambiar esto por algo que espere a que llegue *RE\r
//	HAL_UART_Receive(&huart3, initbuffer, sizeof(initbuffer), 1000);
//
//	//Leer dato de temp sensor
//	HAL_UART_Transmit(&huart3, (uint8_t*) cmd, strlen(cmd), 1000);
//	__HAL_UART_CLEAR_OREFLAG(&huart3);
//	HAL_UART_Receive(&huart3, buffer, sizeof(buffer), 1000);
//
//	HAL_GPIO_WritePin(PH_CONTROL_GPIO_Port, PH_CONTROL_Pin, GPIO_PIN_RESET);
//
//	//TODO: Probar el cast a pointer char
//	uint8_t dec_loc = remove_decimal( (char*) buffer, '.');
//
//	//Esto es para ignorar el warning de que dec_loc no se esta usando.
//	UNUSED(dec_loc);
//
//	u2_t val = atoi( (const char*) buffer);
//
////	if (val == 25576)
////	{
////		val = val;
////	}
//
//	return val;
//}

//u2_t ReadTempSensorI2C()
//{
//	//TODO: Revisar esto, a veces falla la lectura y se queda trabado.
//	//Por ahora le alargo los Delays, pero hacerlo mejor como detectando el error
//	//o con un timeout.
//
//	char cmd[] = "R";
//	uint8_t buffer[8] = {0};
//	//  uint8_t ready = 254;
//	uint8_t fallo = 0;
//
//	HAL_GPIO_WritePin(DO_CONTROL_GPIO_Port, DO_CONTROL_Pin, GPIO_PIN_SET);
//
//	if (HAL_I2C_Master_Transmit(&hi2c2, TEMP_SENSOR_I2C_ADDRESS << 1, (uint8_t*) cmd, sizeof(cmd), 1000) != HAL_OK)
//	{
//		fallo = 1;
//	}
//	else
//	{
//	  HAL_Delay(800);
//	  HAL_I2C_Master_Receive(&hi2c2, TEMP_SENSOR_I2C_ADDRESS << 1, buffer, sizeof(buffer), 1000);
//	}
//
//	HAL_GPIO_WritePin(DO_CONTROL_GPIO_Port, DO_CONTROL_Pin, GPIO_PIN_RESET);
//
//	//TODO: Probar el cast a pointer char
//	uint8_t dec_loc = remove_decimal( (char*) (buffer+1), '.');
//
//	//Esto es para ignorar el warning de que dec_loc no se esta usando.
//	UNUSED(dec_loc);
//
//	u2_t val = atoi( (const char*) (buffer+1));
//
//	return val;
//}

//u2_t ReadTempSensor()
//{
//	//TODO: Revisar esto, a veces falla la lectura y se queda trabado.
//	//Por ahora le alargo los Delays, pero hacerlo mejor como detectando el error
//	//o con un timeout.
//
//	char cmd[] = "R\r";
//	uint8_t initbuffer[11] = {0};
//	uint8_t buffer[10] = {0};
//
//	HAL_UART_DeInit(&huart3);
//	MX_USART3_UART_Init();
//
//	HAL_GPIO_DeInit(GPIOB, GPIO_PIN_10 | GPIO_PIN_11);
////	HAL_GPIO_DeInit(GPIOC, GPIO_PIN_10 | GPIO_PIN_11);
//
//	GPIO_InitTypeDef GPIO_InitStruct;
//
//	GPIO_InitStruct.Pin = GPIO_PIN_10 | GPIO_PIN_11;
//	GPIO_InitStruct.Mode = GPIO_MODE_ANALOG;
//	GPIO_InitStruct.Pull = GPIO_NOPULL;
//	GPIO_InitStruct.Speed = GPIO_SPEED_FREQ_LOW;
//	HAL_GPIO_Init(GPIOC, &GPIO_InitStruct);
//
//	GPIO_InitStruct.Pin = GPIO_PIN_4 | GPIO_PIN_5;
//	GPIO_InitStruct.Mode = GPIO_MODE_AF_PP;
//	GPIO_InitStruct.Pull = GPIO_NOPULL;
//	GPIO_InitStruct.Alternate = GPIO_AF7_USART3;
//	GPIO_InitStruct.Speed = GPIO_SPEED_FREQ_VERY_HIGH;
//	HAL_GPIO_Init(GPIOC, &GPIO_InitStruct);
//
//	HAL_GPIO_WritePin(TEMP_CONTROL_GPIO_Port, TEMP_CONTROL_Pin, GPIO_PIN_SET);
//
//	//Cambiar esto por algo que espere a que llegue *RE\r
//	HAL_UART_Receive(&huart3, initbuffer, sizeof(initbuffer), 1000);
//
//	//Leer dato de ph sensor
//	HAL_UART_Transmit(&huart3, (uint8_t*) cmd, strlen(cmd), 1000);
//	__HAL_UART_CLEAR_OREFLAG(&huart3);
//	HAL_UART_Receive(&huart3, buffer, sizeof(buffer), 1000);
//
//	HAL_GPIO_WritePin(TEMP_CONTROL_GPIO_Port, TEMP_CONTROL_Pin, GPIO_PIN_RESET);
//
//	//TODO: Probar el cast a pointer char
//	uint8_t dec_loc = remove_decimal( (char*) buffer, '.');
//
//	//Esto es para ignorar el warning de que dec_loc no se esta usando.
//	UNUSED(dec_loc);
//
//	u2_t val = atoi( (const char*) buffer);
//
//	return val;
//}

//u2_t ReadDOSensorI2C()
//{
//	//TODO: Revisar esto, a veces falla la lectura y se queda trabado.
//	//Por ahora le alargo los Delays, pero hacerlo mejor como detectando el error
//	//o con un timeout.
//
//	char cmd[] = "R";
//	uint8_t buffer[7] = {0};
//	//  uint8_t ready = 254;
//	uint8_t fallo = 0;
//
//	HAL_GPIO_WritePin(DO_CONTROL_GPIO_Port, DO_CONTROL_Pin, GPIO_PIN_SET);
//	HAL_Delay(1200);
//
//	if (HAL_I2C_Master_Transmit(&hi2c2, DO_SENSOR_I2C_ADDRESS << 1, (uint8_t*) cmd, sizeof(cmd), 1000) != HAL_OK)
//	{
//		fallo = 1;
//	}
//	else
//	{
//	  HAL_Delay(800);
//	  HAL_I2C_Master_Receive(&hi2c2, DO_SENSOR_I2C_ADDRESS << 1, buffer, sizeof(buffer), 1000);
//	}
//
//	HAL_GPIO_WritePin(DO_CONTROL_GPIO_Port, DO_CONTROL_Pin, GPIO_PIN_RESET);
//
//	//TODO: Probar el cast a pointer char
//	uint8_t dec_loc = remove_decimal( (char*) (buffer+1), '.');
//
//	//Esto es para ignorar el warning de que dec_loc no se esta usando.
//	UNUSED(dec_loc);
//
//	u2_t val = atoi( (const char*) (buffer+1));
//
//	return val;
//}

//u2_t ReadDOSensor()
//{
//	//TODO: Revisar esto, a veces falla la lectura y se queda trabado.
//	//Por ahora le alargo los Delays, pero hacerlo mejor como detectando el error
//	//o con un timeout.
//	//I2C address = 104
//	HAL_UART_DeInit(&huart3);
//	MX_USART3_UART_Init();
//
//	HAL_GPIO_DeInit(GPIOB, GPIO_PIN_10 | GPIO_PIN_11);
//	HAL_GPIO_DeInit(GPIOC, GPIO_PIN_4 | GPIO_PIN_5);
//
//	GPIO_InitTypeDef GPIO_InitStruct;
//
//	GPIO_InitStruct.Pin = GPIO_PIN_10 | GPIO_PIN_11;
//	GPIO_InitStruct.Mode = GPIO_MODE_AF_PP;
//	GPIO_InitStruct.Pull = GPIO_NOPULL;
//	GPIO_InitStruct.Alternate = GPIO_AF7_USART3;
//	GPIO_InitStruct.Speed = GPIO_SPEED_FREQ_VERY_HIGH;
//	HAL_GPIO_Init(GPIOC, &GPIO_InitStruct);
//
//	char cmd[] = "I2C,102\r";
//	uint8_t initbuffer[11] = {0};
//	uint8_t buffer[9] = {0};
//
//	//Cambiar los pines Tx/Rx a PC10/PC11
////	GPIOB->MODER |= (0x3 << 20) | (0x3 << 22); //Set PB10/PB11 pins as Analog
////	GPIOC->MODER |= (0x3 << 8) | (0x3 << 10); //Set PC4/PC5 pins as Analog
////
////	//Set PC10/PC11 as Alternate Functionality
////	GPIOC->MODER |= (0x1 << 21) | (0x1 << 23);
////	GPIOC->MODER &= (~(0x1 << 20)) & (~(0x1 << 22));
////
////	//Set AF7 for pins PC10/PC11
////	GPIOC->AFR[1] |= (0x7 << 8) | (0x7 << 12);
//
//	HAL_GPIO_WritePin(DO_CONTROL_GPIO_Port, DO_CONTROL_Pin, GPIO_PIN_SET);
//
//	//Cambiar esto por algo que espere a que llegue *RE\r
//	HAL_UART_Receive(&huart3, initbuffer, sizeof(initbuffer), 1000);
//
//	//Leer dato de do sensor
//	HAL_UART_Transmit(&huart3, (uint8_t*) cmd, strlen(cmd), 1000);
//	__HAL_UART_CLEAR_OREFLAG(&huart3);
//	HAL_UART_Receive(&huart3, buffer, sizeof(buffer), 1000);
//
//	HAL_GPIO_WritePin(DO_CONTROL_GPIO_Port, DO_CONTROL_Pin, GPIO_PIN_RESET);
//
//	GPIO_InitStruct.Pin = GPIO_PIN_10 | GPIO_PIN_11;
//	GPIO_InitStruct.Mode = GPIO_MODE_ANALOG;
//	GPIO_InitStruct.Pull = GPIO_NOPULL;
//	GPIO_InitStruct.Speed = GPIO_SPEED_FREQ_LOW;
//	HAL_GPIO_Init(GPIOC, &GPIO_InitStruct);
//
//	//TODO: Probar el cast a pointer char
//	uint8_t dec_loc = remove_decimal( (char*) buffer, '.');
//
//	//Esto es para ignorar el warning de que dec_loc no se esta usando.
//	UNUSED(dec_loc);
//
//	u2_t val = atoi( (const char*) buffer);
//
//	return val;
//}

void RTC_WakeupConfig()
{
	//Setup Wakeup timer
	//uint32_t sleep_seconds = SLEEP_MINUTES*60;
	//Substracting an additional second because of the initialization time.
	if (HAL_RTCEx_SetWakeUpTimer_IT(&hrtc, SLEEP_SECONDS - 1 - 1, RTC_WAKEUPCLOCK_CK_SPRE_16BITS) != HAL_OK)
		{
			Error_Handler();
		}
	//	MYPRINT("RTC configured.\r\n");
}

void HAL_RTCEx_WakeUpTimerEventCallback(RTC_HandleTypeDef *hrtc)
{
//	MYPRINT("Wakeup Triggered.\r\n");
	__HAL_RTC_WAKEUPTIMER_CLEAR_FLAG(hrtc, RTC_FLAG_WUTF);
	txcomplete = 0;
	RTC_WakeupConfig();
	HAL_GPIO_WritePin(USER_LED_GPIO_Port, USER_LED_Pin, GPIO_PIN_SET);

	AtlasSensorData sample = {0};
	readSensors(&sample);

	loradata[0] = (uint8_t) (sample.mcu_temperature >> 8);
	loradata[1] = (uint8_t) sample.mcu_temperature;
	loradata[2] = (uint8_t) (sample.temperature >> 8);
	loradata[3] = (uint8_t) sample.temperature;
	loradata[4] = (uint8_t) (sample.pH >> 8);
	loradata[5] = (uint8_t) sample.pH;
	loradata[6] = (uint8_t) (sample.dissolvedOxygen >> 8);
	loradata[7] = (uint8_t) sample.dissolvedOxygen;

	do_send(&sendjob);
//	os_setCallback(&reportjob, &reportfunc);
}

void InitFlashErase()
{
	FlashEraseInit.TypeErase = FLASH_TYPEERASE_PAGES;
	FlashEraseInit.Banks = FLASH_BANK_2;
	FlashEraseInit.Page = 448;
	FlashEraseInit.NbPages = 64;
}

//Funcion para guardar la Tick actual + el tiempo de sleep y el LMIC
void SaveSession()
{
	//1. Desbloquear la flash y borrar las paginas 448-511 para permitir escribir la sesion
	HAL_FLASH_Unlock();
	__HAL_FLASH_CLEAR_FLAG(FLASH_FLAG_EOP | FLASH_FLAG_OPERR | FLASH_FLAG_WRPERR | FLASH_FLAG_PGAERR | FLASH_FLAG_PGSERR );
	HAL_FLASHEx_Erase(&FlashEraseInit, &flashError);

	//2. Guardar la tick actual
	if(HAL_FLASH_Program(FLASH_TYPEPROGRAM_DOUBLEWORD, (uint32_t) (userConfig), tick + SLEEP_SECONDS*1000) != HAL_OK)
	{
		Error_Handler();
	}

	//3. Guardar el overflow

	if(HAL_FLASH_Program(FLASH_TYPEPROGRAM_DOUBLEWORD, (uint32_t) (userConfig+8), hal_get_overflow()) != HAL_OK)
	{
		Error_Handler();
	}

	//4. Guardar LMIC
	uint64_t* pLMIC = (uint64_t*) &LMIC;

	uint32_t i = 16;

	//TODO: Revisar este while. Yo creo que esta iterando muchas mas veces de las necesarias
	while(i < LMIC_BYTE_SIZE + 16)
	{
		if (HAL_FLASH_Program(FLASH_TYPEPROGRAM_DOUBLEWORD, (uint32_t) (userConfig+i), *pLMIC) != HAL_OK)
		{
			Error_Handler();
		}
		pLMIC++;
		i+=8;
	}
}

//Funcion para restaurar la sesion despues de despertar
void RestoreSession()
{
	tick = *((uint32_t*)(userConfig));

	//TODO: Probar esto.
	hal_set_overflow(*(uint8_t*) (userConfig+8));

	LMIC = *((struct lmic_t*) (userConfig+16));

	//Esto es un fix por ahora para mirar el error que tengo
	//No se bien que es el error. Algo tiene que ver con lo de MAC.
//	LMIC.opmode &= ~OP_TXRXPEND;
}

void HAL_IncTick(void)
{
	tick += (uint32_t) uwTickFreq;
}

uint32_t HAL_GetTick(void)
{
	return tick;
}
//

//void ResumeRunMode(void)
//{
//	SystemClock_Config();
//
//	HAL_RTCEx_DeactivateWakeUpTimer(&hrtc);
//
//	//No estoy seguro de esta parte.
//	MX_GPIO_Init();
//	MX_USART2_UART_Init();
//	MX_SPI1_Init();
//	MX_TIM3_Init();
//}

/* USER CODE END 4 */

void Error_Handler(void)
{
	__disable_irq();
	while (1) {
	}
}

/************************ (C) COPYRIGHT STMicroelectronics *****END OF FILE****/
